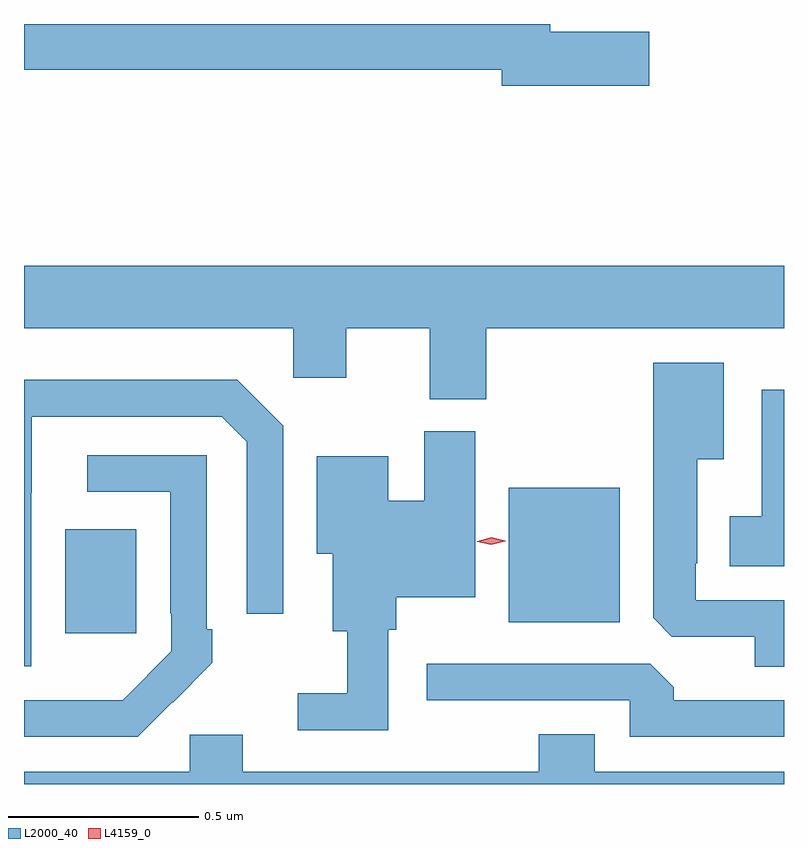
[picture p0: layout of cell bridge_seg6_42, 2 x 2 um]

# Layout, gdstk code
import gdstk
lib = gdstk.Library(unit=1e-6, precision=1e-09)
def R(c, l, rs):  # rectangles x0, y0, x1, y1
    for r in rs: c.add(gdstk.rectangle(r[:2], r[2:], *l))
def P(c, l, *ps):  # polygons
    for p in ps: c.add(gdstk.Polygon(p, *l))
L2000_40 = (2000, 40)
L4159_0 = (4159, 0)

bridge_seg6_42 = lib.new_cell('bridge_seg6_42')
R(bridge_seg6_42, L2000_40, [(1067.069,971.841,1067.257,972.115), (1068.236,971.87,1068.529,972.223)])
P(bridge_seg6_42, L2000_40, [(1068.607,973.424),(1068.346,973.424),(1068.346,973.444),(1066.961,973.444),(1066.961,973.324),(1068.218,973.324),(1068.218,973.282),(1068.607,973.282)],
  [(1068.177,972.644),(1068.961,972.644),(1068.961,972.808),(1066.961,972.808),(1066.961,972.644),(1067.67,972.644),(1067.67,972.513),(1067.809,972.513),(1067.809,972.644),(1068.029,972.644),(1068.029,972.457),(1068.177,972.457)],
  [(1068.961,971.928),(1068.729,971.928),(1068.729,972.025),(1068.733,972.025),(1068.733,972.299),(1068.802,972.299),(1068.802,972.553),(1068.617,972.553),(1068.617,971.881),(1068.666,971.832),(1068.884,971.832),(1068.884,971.753),(1068.961,971.753)],
  [(1066.98,972.211),(1066.981,972.211),(1066.981,972.411),(1067.481,972.411),(1067.547,972.345),(1067.547,971.892),(1067.643,971.892),(1067.643,972.387),(1067.522,972.508),(1066.961,972.508),(1066.961,971.754),(1066.98,971.754)],
  [(1068.961,972.481),(1068.902,972.481),(1068.902,972.148),(1068.818,972.148),(1068.818,972.017),(1068.961,972.017)],
  [(1067.919,971.85),(1067.94,971.85),(1067.94,971.936),(1068.148,971.936),(1068.148,972.372),(1068.014,972.372),(1068.014,972.19),(1067.92,972.19),(1067.92,972.307),(1067.732,972.307),(1067.732,972.05),(1067.774,972.05),(1067.774,971.846),(1067.811,971.846),(1067.811,971.683),(1067.682,971.683),(1067.682,971.586),(1067.919,971.586)],
  [(1067.351,971.659),(1067.352,971.658),(1067.457,971.763),(1067.457,971.851),(1067.442,971.851),(1067.442,972.309),(1067.127,972.309),(1067.127,972.213),(1067.346,972.213),(1067.346,971.893),(1067.349,971.893),(1067.349,971.793),(1067.221,971.665),(1067.117,971.665),(1067.117,971.664),(1066.961,971.664),(1066.961,971.568),(1067.26,971.568)],
  [(1068.961,971.664),(1068.671,971.664),(1068.671,971.698),(1068.609,971.76),(1068.021,971.76),(1068.021,971.664),(1068.555,971.664),(1068.555,971.568),(1068.961,971.568)],
  [(1068.961,971.476),(1068.463,971.476),(1068.463,971.575),(1068.316,971.575),(1068.316,971.476),(1067.536,971.476),(1067.536,971.574),(1067.397,971.574),(1067.397,971.476),(1066.961,971.476),(1066.961,971.444),(1068.961,971.444)])
P(bridge_seg6_42, L4159_0, [(1068.191,972.073),(1068.154,972.082),(1068.153,972.082),(1068.154,972.083),(1068.191,972.093),(1068.228,972.084),(1068.229,972.083),(1068.228,972.083)])

lib.write_gds('bridge_seg6_42.gds')
